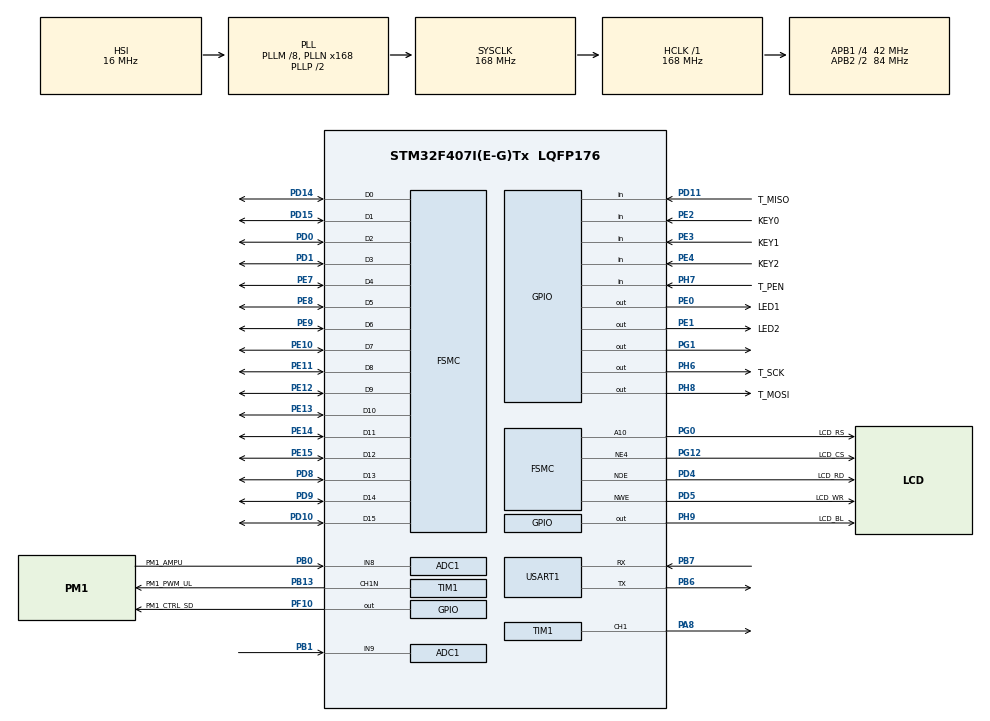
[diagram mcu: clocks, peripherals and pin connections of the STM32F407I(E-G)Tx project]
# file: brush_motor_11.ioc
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ADC1.Channel-0\#ChannelRegularConversion=ADC_CHANNEL_9
ADC1.Channel-1\#ChannelInjectedConversion=ADC_CHANNEL_8
ADC1.ContinuousConvMode=DISABLE
ADC1.DMAContinuousRequests=DISABLE
ADC1.ExternalTrigInjecConv=ADC_EXTERNALTRIGINJECCONV_T1_TRGO
ADC1.InjNumberOfConversion=1
ADC1.InjectedOffset-1\#ChannelInjectedConversion=0
ADC1.InjectedRank-1\#ChannelInjectedConversion=1
ADC1.NbrOfConversion=1
ADC1.NbrOfConversionFlag=1
ADC1.Rank-0\#ChannelRegularConversion=1
ADC1.SamplingTime-0\#ChannelRegularConversion=ADC_SAMPLETIME_28CYCLES
ADC1.SamplingTime-1\#ChannelInjectedConversion=ADC_SAMPLETIME_28CYCLES
ADC1.ScanConvMode=DISABLE
ADC1.master=1
FSMC.AccessMode4=FSMC_ACCESS_MODE_A
FSMC.AddressSetupTime4=2
FSMC.BusTurnAroundDuration4=0
FSMC.DataSetupTime4=5
FSMC.ExtendedAccessMode4=FSMC_ACCESS_MODE_A
FSMC.ExtendedAddressSetupTime4=0
FSMC.ExtendedBusTurnAroundDuration4=0
FSMC.ExtendedDataSetupTime4=255
FSMC.ExtendedMode4=FSMC_EXTENDED_MODE_ENABLE
FSMC.NSBank4=FSMC_NORSRAM_BANK4
FSMC.WriteOperation4=FSMC_WRITE_OPERATION_ENABLE
Mcu.Family=STM32F4
Mcu.Name=STM32F407I(E-G)Tx
Mcu.Package=LQFP176
NVIC.ADC_IRQn=true\:1\:0\:true\:false\:true\:true\:true\:true
NVIC.PriorityGroup=NVIC_PRIORITYGROUP_4
PA13.Mode=Serial_Wire
PA13.Signal=SYS_JTMS-SWDIO
PA14.Mode=Serial_Wire
PA14.Signal=SYS_JTCK-SWCLK
PA8.GPIO_Speed=GPIO_SPEED_FREQ_HIGH
PA8.Signal=S_TIM1_CH1
PB0.GPIO_Label=PM1_AMPU
PB0.Signal=ADCx_IN8
PB1.Signal=ADCx_IN9
PB13.GPIO_Label=PM1_PWM_UL
PB13.GPIO_PuPd=GPIO_NOPULL
PB13.GPIO_Speed=GPIO_SPEED_FREQ_HIGH
PB13.Mode=PWM Generation1 CH1 CH1N
PB13.Signal=TIM1_CH1N
PB6.Mode=Asynchronous
PB6.Signal=USART1_TX
PB7.Mode=Asynchronous
PB7.Signal=USART1_RX
PC14-OSC32_IN.Mode=LSE-External-Oscillator
PC14-OSC32_IN.Signal=RCC_OSC32_IN
PC15-OSC32_OUT.Mode=LSE-External-Oscillator
PC15-OSC32_OUT.Signal=RCC_OSC32_OUT
PC6.GPIO_Label=PM1_ENCA
PC6.GPIO_Speed=GPIO_SPEED_FREQ_HIGH
PC6.Signal=S_TIM3_CH1
PD0.GPIO_PuPd=GPIO_PULLUP
PD0.Signal=FSMC_D2_DA2
PD1.GPIO_PuPd=GPIO_PULLUP
PD1.Signal=FSMC_D3_DA3
PD10.GPIO_PuPd=GPIO_PULLUP
PD10.Signal=FSMC_D15_DA15
PD11.GPIO_Label=T_MISO
PD11.Signal=GPIO_Input
PD14.GPIO_PuPd=GPIO_PULLUP
PD14.Signal=FSMC_D0_DA0
PD15.GPIO_PuPd=GPIO_PULLUP
PD15.Signal=FSMC_D1_DA1
PD4.GPIO_Label=LCD_RD
PD4.GPIO_PuPd=GPIO_PULLUP
PD4.Signal=FSMC_NOE
PD5.GPIO_Label=LCD_WR
PD5.GPIO_PuPd=GPIO_PULLUP
PD5.Signal=FSMC_NWE
PD8.GPIO_PuPd=GPIO_PULLUP
PD8.Signal=FSMC_D13_DA13
PD9.GPIO_PuPd=GPIO_PULLUP
PD9.Signal=FSMC_D14_DA14
PE0.GPIO_Label=LED1
PE0.PinState=GPIO_PIN_SET
PE0.Signal=GPIO_Output
PE1.GPIO_Label=LED2
PE1.PinState=GPIO_PIN_SET
PE1.Signal=GPIO_Output
PE10.GPIO_PuPd=GPIO_PULLUP
PE10.Signal=FSMC_D7_DA7
PE11.GPIO_PuPd=GPIO_PULLUP
PE11.Signal=FSMC_D8_DA8
PE12.GPIO_PuPd=GPIO_PULLUP
PE12.Signal=FSMC_D9_DA9
PE13.GPIO_PuPd=GPIO_PULLUP
PE13.Signal=FSMC_D10_DA10
PE14.GPIO_PuPd=GPIO_PULLUP
PE14.Signal=FSMC_D11_DA11
PE15.GPIO_PuPd=GPIO_PULLUP
PE15.Signal=FSMC_D12_DA12
PE2.GPIO_Label=KEY0
PE2.GPIO_PuPd=GPIO_PULLUP
PE2.Signal=GPIO_Input
PE3.GPIO_Label=KEY1
PE3.GPIO_PuPd=GPIO_PULLUP
PE3.Signal=GPIO_Input
PE4.GPIO_Label=KEY2
PE4.GPIO_PuPd=GPIO_PULLUP
PE4.Signal=GPIO_Input
PE7.GPIO_PuPd=GPIO_PULLUP
PE7.Signal=FSMC_D4_DA4
PE8.GPIO_PuPd=GPIO_PULLUP
PE8.Signal=FSMC_D5_DA5
PE9.GPIO_PuPd=GPIO_PULLUP
PE9.Signal=FSMC_D6_DA6
PF10.GPIO_Label=PM1_CTRL_SD
PF10.Signal=GPIO_Output
PG0.GPIO_Label=LCD_RS
PG0.GPIO_PuPd=GPIO_PULLUP
PG0.Signal=FSMC_A10
PG1.Signal=GPIO_Output
PG12.GPIO_Label=LCD_CS
PG12.GPIO_PuPd=GPIO_PULLUP
PG12.Mode=NorPsramChipSelect4_4
PG12.Signal=FSMC_NE4
PH0-OSC_IN.Mode=HSE-External-Oscillator
PH0-OSC_IN.Signal=RCC_OSC_IN
PH1-OSC_OUT.Mode=HSE-External-Oscillator
PH1-OSC_OUT.Signal=RCC_OSC_OUT
PH13.Signal=TIM8_CH1N
PH6.GPIO_Label=T_SCK
PH6.Signal=GPIO_Output
PH7.GPIO_Label=T_PEN
PH7.Signal=GPIO_Input
PH8.GPIO_Label=T_MOSI
PH8.Signal=GPIO_Output
PH9.GPIO_Label=LCD_BL
PH9.Signal=GPIO_Output
ProjectManager.HeapSize=0x200
ProjectManager.StackSize=0x400
ProjectManager.TargetToolchain=MDK-ARM V5.27
RCC.48MHZClocksFreq_Value=84000000
RCC.AHBFreq_Value=168000000
RCC.APB1CLKDivider=RCC_HCLK_DIV4
RCC.APB1Freq_Value=42000000
RCC.APB1TimFreq_Value=84000000
RCC.APB2CLKDivider=RCC_HCLK_DIV2
RCC.APB2Freq_Value=84000000
RCC.APB2TimFreq_Value=168000000
RCC.CortexFreq_Value=168000000
RCC.FLatency=FLASH_LATENCY_5
RCC.HCLKFreq_Value=168000000
RCC.HSE_VALUE=25000000
RCC.HSI_VALUE=16000000
RCC.PLLM=8
RCC.PLLN=168
RCC.SYSCLKFreq_VALUE=168000000
RCC.SYSCLKSource=RCC_SYSCLKSOURCE_PLLCLK
RCC.VCOOutputFreq_Value=336000000
SH.ADCx_IN8.0=ADC1_IN8,IN8
SH.ADCx_IN9.0=ADC1_IN9,IN9
SH.FSMC_A10.0=FSMC_A10,A10_4
SH.FSMC_D0_DA0.0=FSMC_D0,16b-d4
SH.FSMC_D10_DA10.0=FSMC_D10,16b-d4
SH.FSMC_D11_DA11.0=FSMC_D11,16b-d4
SH.FSMC_D12_DA12.0=FSMC_D12,16b-d4
SH.FSMC_D13_DA13.0=FSMC_D13,16b-d4
SH.FSMC_D14_DA14.0=FSMC_D14,16b-d4
SH.FSMC_D15_DA15.0=FSMC_D15,16b-d4
SH.FSMC_D1_DA1.0=FSMC_D1,16b-d4
SH.FSMC_D2_DA2.0=FSMC_D2,16b-d4
SH.FSMC_D3_DA3.0=FSMC_D3,16b-d4
SH.FSMC_D4_DA4.0=FSMC_D4,16b-d4
SH.FSMC_D5_DA5.0=FSMC_D5,16b-d4
SH.FSMC_D6_DA6.0=FSMC_D6,16b-d4
SH.FSMC_D7_DA7.0=FSMC_D7,16b-d4
SH.FSMC_D8_DA8.0=FSMC_D8,16b-d4
SH.FSMC_D9_DA9.0=FSMC_D9,16b-d4
SH.FSMC_NOE.0=FSMC_NOE,Lcd4
SH.FSMC_NWE.0=FSMC_NWE,Lcd4
SH.S_TIM1_CH1.0=TIM1_CH1,PWM Generation1 CH1 CH1N
SH.S_TIM3_CH1.0=TIM3_CH1
TIM1.Channel-PWM\ Generation1\ CH1\ CH1N=TIM_CHANNEL_1
TIM1.CounterMode=TIM_COUNTERMODE_CENTERALIGNED1
TIM1.Period=2624
TIM1.Prescaler=1
TIM1.TIM_MasterOutputTrigger=TIM_TRGO_UPDATE
TIM1.TIM_MasterSlaveMode=TIM_MASTERSLAVEMODE_ENABLE
USART1.VirtualMode=VM_ASYNC
VP_TIM1_VS_ClockSourceINT.Mode=Internal
board=custom

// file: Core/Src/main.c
/* USER CODE BEGIN Header */
/**
 ******************************************************************************
 * @file           : main.c
 * @brief          : Main program body
 ******************************************************************************
 */
/* USER CODE END Header */
#include "main.h"
#include "adc.h"
#include "tim.h"
#include "usart.h"
#include "gpio.h"
#include "fsmc.h"

/* USER CODE BEGIN Includes */
#include <stdlib.h>
#include <stdio.h>
#include <string.h>
#include "bsp_lcd.h"
#include "bsp_key_led.h"
#include "bsp_delay.h"
#include "bsp_brush_motor.h"
#include "bsp_current_sensor.h"
#include "pid.h"
#include "current_loop.h"
#include "user_config.h"
/* USER CODE END Includes */

/* USER CODE BEGIN PD */

/*---- DWT 滴答时钟（μs）---- */
/*
 * 利用 Cortex-M4 DWT 周期计数器做高精度时间戳。
 * DWT_CYCCNT 每时钟周期 +1，168MHz 下约 59.5ns 分辨率。
 */
#define DWT_TICK_US  (DWT->CYCCNT / (SystemCoreClock / 1000000u))
#define DWT_TICK_MS  (DWT_TICK_US / 1000u)

/* USER CODE END PD */

/* USER CODE BEGIN PV */

/* ---- 电机驱动配置（PM1：TIM1 CH1 PA8 / CH1N PB13，IR2104 半桥） ---- */
BrushMotorConfig pm1_motor = {
    .htim         = &htim1,
    .tim_channel  = TIM_CHANNEL_1,
    .tim_arr      = 2625,           /* Period=2624, ARR+1=2625，占空比%计算基准 */
    .sd_port      = PM1_CTRL_SD_GPIO_Port,
    .sd_pin       = PM1_CTRL_SD_Pin /* PF10，IR2104 shutdown */
};

/* ---- 电流环控制实例 ---- */
CurrentLoopCtrl current_loop;

/* ---- 开环模式变量 ---- */
int16_t open_duty_percent  = 0;     /* 开环占空比，正=正转，负=反转              */
int8_t  open_duty_step     = 20;    /* 开环步进值                                */
uint8_t open_motor_running = 0;     /* 开环电机运行标志                          */

/* ---- 演示状态 ---- */
uint8_t closed_loop_active = 0;      /* 闭环演示是否激活（KEY0控制启停）         */
extern uint32_t adc_injected_data;   /* adc.c 定义的注入通道转换结果              */

/* USER CODE END PV */

void SystemClock_Config(void);
/* USER CODE BEGIN PFP */
static void Sys_LCD_Update(uint32_t tick_ms);
static void Sys_Serial_Output(uint32_t tick_ms);
/* USER CODE END PFP */

/* USER CODE BEGIN 0 */

/*==============================================================================
 * 按键处理函数
 *============================================================================*/

/**
 * @brief KEY0：闭环演示（极性轮转启停）
 * @note  按一下启动（±100mA 交替），再按停止。
 *        +100mA → 停 → -100mA → 停 → +100mA → ...
 */
static void Key0_ClosedLoop(void)
{
    static int8_t target_polarity = 1;

    if (CurrentLoop_GetState(&current_loop) == CURRENT_LOOP_RUNNING)
    {
        CurrentLoop_SetTarget(&current_loop, 0.0f);
        CurrentLoop_Stop(&current_loop);
        closed_loop_active = 0;
        Led_Off(LED1);
    }
    else
    {
        float target = (float)target_polarity * CURRENT_TARGET_DEFAULT_mA;
        CurrentLoop_SetTarget(&current_loop, target);
        CurrentLoop_Start(&current_loop);
        closed_loop_active = 1;
        open_motor_running  = 0;  /* 关闭开环（互斥） */
        Led_On(LED1);
        target_polarity = -target_polarity;
    }
}

/**
 * @brief KEY1：开环演示（占空比循环）
 * @note  0 → 20% → 40% → 60% → 80% → 100% → -100% → -80% → ... → 0
 */
static void Key1_OpenLoop(void)
{
    /* 如果闭环在跑，先停掉 */
    if (closed_loop_active)
    {
        CurrentLoop_Stop(&current_loop);
        closed_loop_active = 0;
        Led_Off(LED1);
    }

    Led_Toggle(LED2);
    open_motor_running = 1;
    open_duty_percent += open_duty_step;

    if (open_duty_percent >= 100)    { open_duty_percent = 100;  open_duty_step = -20; }
    else if (open_duty_percent <= -100) { open_duty_percent = -100; open_duty_step = 20;  }
}

/**
 * @brief KEY2：紧急失能（SD 拉低，停止一切）
 */
static void Key2_EmergencyStop(void)
{
    CurrentLoop_Stop(&current_loop);
    closed_loop_active = 0;
    open_motor_running  = 0;
    open_duty_percent   = 0;
    BrushMotor_Disable();
    Led_Off(LED1);
    Led_Off(LED2);
}

/**
 * @brief 将开环占空比应用到电机驱动
 * @note  只在状态变化时调用 SetDirection，避免重复操作 HAL 状态机。
 */
static void OpenLoop_ApplyDuty(void)
{
    static int16_t prev_duty    = 0;
    static uint8_t prev_running = 0;

    if (open_motor_running && open_duty_percent != 0)
    {
        if (!prev_running || prev_duty != open_duty_percent)
        {
            if (open_duty_percent > 0)
                BrushMotor_SetDirection(MOTOR_FORWARD);
            else
                BrushMotor_SetDirection(MOTOR_REVERSE);
            BrushMotor_SetSpeed(abs(open_duty_percent));
            BrushMotor_Enable();
        }
    }
    else
    {
        BrushMotor_Disable();
    }

    prev_duty    = open_duty_percent;
    prev_running = open_motor_running;
}

/* USER CODE END 0 */

int main(void)
{

  /* MCU Configuration--------------------------------------------------------*/

  /* Reset of all peripherals, Initializes the Flash interface and the Systick. */
  HAL_Init();

  /* Configure the system clock */
  SystemClock_Config();

  /* Initialize all configured peripherals */
  MX_GPIO_Init();
  MX_FSMC_Init();
  MX_USART1_UART_Init();
  MX_ADC1_Init();
  MX_TIM1_Init();
  /* USER CODE BEGIN 2 */
  DWT_Init();
  Key_Init();
  Led_Init();
  lcd_init();

  /* ---- 屏幕标题 ---- */
  lcd_show_string(100, 10, 300, 32, 32, "Dr.GAO-Motor-1", RED);
  lcd_show_string(10, 60, 450, 24, 24, "Chap11: Current-Loop PID", BLUE);

  /* ---- 电流传感器与零漂校准 ---- */
  /*
   * 流程：
   * 1. 启动 TIM1 基本定时器（TRGO 触发 ADC 注入转换）
   * 2. 初始化电机（SD 拉低、PWM 停止）
   * 3. 设置正转方向 + 0% 占空比，使能 SD 让下桥臂导通 → 电流采样回路闭合
   * 4. 校准电流零漂（软件触发阻塞采集 100 次取平均）
   * 5. 校准完成后保持电机停止，等待按键操作
   */
  HAL_TIM_Base_Start(pm1_motor.htim);
  HAL_Delay(10);

  BrushMotor_Init(&pm1_motor);

  /* 自举电容预充电：50%互补PWM短暂运行，双半桥等位不转，Cboot充满 */
  BrushMotor_BootstrapCharge();

  BrushMotor_SetDirection(MOTOR_FORWARD);
  BrushMotor_SetSpeed(0);
  BrushMotor_Enable();
  HAL_Delay(500);

  lcd_show_string(10, 240, 400, 24, 24, "Calibrating zero offset...", RED);
  BSP_CurrentSensor_Init();  /* 内部先阻塞校准，再开启注入中断 */
  lcd_show_string(10, 240, 400, 24, 24, "Zero offset calibrated.    ", GREEN);

  BrushMotor_Disable();

  /* ---- 初始化电流环控制器（绑定电机驱动，加载默认 PID 参数） ---- */
  CurrentLoop_Init(&current_loop, &pm1_motor);

  /* ---- 初始状态指示 ---- */
  Led_Off(LED1);
  Led_Off(LED2);

  /* USER CODE END 2 */

  /* Infinite loop */
  /* USER CODE BEGIN WHILE */

  /*
   * 简单同步调度（与 chap10 一致，方便调试）
   */
  {
    KeyPressedID key_id = KEY_None;
    char buffer[60];
    uint16_t send_cnt = 0;
    uint16_t lcd_cnt   = 0;
    uint32_t last_tick = 0;

    while (1)
    {
      key_id = Key_Scan();  /* 无按键时立即返回 KEY_None */

      /* ---- 按键处理 ---- */
      if (key_id == KEY0_Pressed)
      {
        Key0_ClosedLoop();
      }
      else if (key_id == KEY1_Pressed)
      {
        Key1_OpenLoop();
      }
      else if (key_id == KEY2_Pressed)
      {
        Key2_EmergencyStop();
      }

      /* ---- 电流环/开环控制 ---- */
      /* 注：闭环 PID 在 ADC ISR 中运行（1000Hz），主循环仅负责按键/LCD/串口 */
      if (!closed_loop_active)
      {
        OpenLoop_ApplyDuty();
      }

      /* ---- LCD 刷新（每 100 次 ~100ms，减少 FSMC 开销） ---- */
      if (++lcd_cnt >= 100)
      {
        lcd_cnt = 0;
        Sys_LCD_Update(0);
      }

      /* ---- 串口输出（每 500 次 ~500ms） ---- */
      if (++send_cnt >= 500)
      {
        send_cnt = 0;
        Sys_Serial_Output(0);
      }

      HAL_Delay(1);  /* 控制周期 ~1ms */
    }
  }
    /* USER CODE END WHILE */

}

void SystemClock_Config(void)
{
  RCC_OscInitTypeDef RCC_OscInitStruct = {0};
  RCC_ClkInitTypeDef RCC_ClkInitStruct = {0};

  /** Configure the main internal regulator output voltage
  */
  __HAL_RCC_PWR_CLK_ENABLE();
  __HAL_PWR_VOLTAGESCALING_CONFIG(PWR_REGULATOR_VOLTAGE_SCALE1);

  /** Initializes the RCC Oscillators according to the specified parameters
  * in the RCC_OscInitTypeDef structure.
  */
  RCC_OscInitStruct.OscillatorType = RCC_OSCILLATORTYPE_HSI;
  RCC_OscInitStruct.HSIState = RCC_HSI_ON;
  RCC_OscInitStruct.HSICalibrationValue = RCC_HSICALIBRATION_DEFAULT;
  RCC_OscInitStruct.PLL.PLLState = RCC_PLL_ON;
  RCC_OscInitStruct.PLL.PLLSource = RCC_PLLSOURCE_HSI;
  RCC_OscInitStruct.PLL.PLLM = 8;
  RCC_OscInitStruct.PLL.PLLN = 168;
  RCC_OscInitStruct.PLL.PLLP = RCC_PLLP_DIV2;
  RCC_OscInitStruct.PLL.PLLQ = 4;
  if (HAL_RCC_OscConfig(&RCC_OscInitStruct) != HAL_OK)
  {
    Error_Handler();
  }

  /** Initializes the CPU, AHB and APB buses clocks
  */
  RCC_ClkInitStruct.ClockType = RCC_CLOCKTYPE_HCLK|RCC_CLOCKTYPE_SYSCLK
                              |RCC_CLOCKTYPE_PCLK1|RCC_CLOCKTYPE_PCLK2;
  RCC_ClkInitStruct.SYSCLKSource = RCC_SYSCLKSOURCE_PLLCLK;
  RCC_ClkInitStruct.AHBCLKDivider = RCC_SYSCLK_DIV1;
  RCC_ClkInitStruct.APB1CLKDivider = RCC_HCLK_DIV4;
  RCC_ClkInitStruct.APB2CLKDivider = RCC_HCLK_DIV2;

  if (HAL_RCC_ClockConfig(&RCC_ClkInitStruct, FLASH_LATENCY_5) != HAL_OK)
  {
    Error_Handler();
  }
}

/* USER CODE BEGIN 4 */
void HAL_TIM_PeriodElapsedCallback(TIM_HandleTypeDef *htim)
{
  if (htim->Instance == TIM3 || htim->Instance == TIM2)
  {
    /* 编码器溢出回调（后续案例使用） */
  }
}

/*==============================================================================
 * LCD 显示更新
 *============================================================================*/

/**
 * @brief 按模式刷新 LCD 显示（每 ~100ms 调用一次，减少 FSMC 开销）
 * @param tick_ms 备用参数
 */
static void Sys_LCD_Update(uint32_t tick_ms)
{
    (void)tick_ms;
    char buffer[60];
    float current_ma = BSP_CurrentSensor_GetCurrent();

    if (closed_loop_active)
    {
        sprintf(buffer, "Mode: CLOSED-LOOP [RUN]          ");
        lcd_show_string(10, 90, 450, 24, 24, buffer, GREEN);

        sprintf(buffer, "Target: %.0f mA                 ",
                CurrentLoop_GetTarget(&current_loop));
        lcd_show_string(10, 120, 400, 24, 24, buffer, BLUE);

        sprintf(buffer, "Current: %.0f mA  Duty: %.0f%%   ",
                current_ma, PID_GetOutput(&current_loop.pid));
        lcd_show_string(10, 150, 400, 24, 24, buffer, BLUE);

        sprintf(buffer, "Error: %+.0f mA                  ",
                CurrentLoop_GetError(&current_loop));
        lcd_show_string(10, 180, 400, 24, 24, buffer, BLUE);
    }
    else
    {
        sprintf(buffer, "Mode: OPEN-LOOP                  ");
        lcd_show_string(10, 90, 450, 24, 24, buffer, BLUE);

        sprintf(buffer, "Duty: %d%%                      ", open_duty_percent);
        lcd_show_string(10, 120, 400, 24, 24, buffer, BLUE);

        sprintf(buffer, "Current: %.0f mA                ",
                open_motor_running ? current_ma : 0.0f);
        lcd_show_string(10, 150, 400, 24, 24, buffer, BLUE);

        sprintf(buffer, "                                ");
        lcd_show_string(10, 180, 400, 24, 24, buffer, BLUE);
    }

    sprintf(buffer, "Offset: %.1f  ADC: %u            ",
            BSP_CurrentSensor_GetOffset(), (unsigned int)adc_injected_data);
    lcd_show_string(10, 210, 400, 24, 24, buffer, BLUE);
}

/*==============================================================================
 * 串口调试输出
 *============================================================================*/

/**
 * @brief 按模式输出调试信息到 USART1
 * @param tick_ms 备用参数
 */
static void Sys_Serial_Output(uint32_t tick_ms)
{
    (void)tick_ms;
#if SERIAL_DEBUG_ENABLE
    char buffer[100];
    float current_ma = BSP_CurrentSensor_GetCurrent();

    if (closed_loop_active)
    {
        float target  = CurrentLoop_GetTarget(&current_loop);
        float output  = CurrentLoop_GetOutput(&current_loop);
        float error   = CurrentLoop_GetError(&current_loop);

        sprintf(buffer,
                "[CL] Target:%.0fmA Actual:%.0fmA Duty:%.0f%% Error:%+.0fmA\r\n",
                target, current_ma, output, error);
    }
    else
    {
        sprintf(buffer,
                "[OL] Duty:%d%% Current:%.0fmA\r\n",
                open_duty_percent, current_ma);
    }

    USART_SendString(buffer);
#endif
}
/* USER CODE END 4 */

void Error_Handler(void)
{
  __disable_irq();
  while (1)
  {
  }
}
